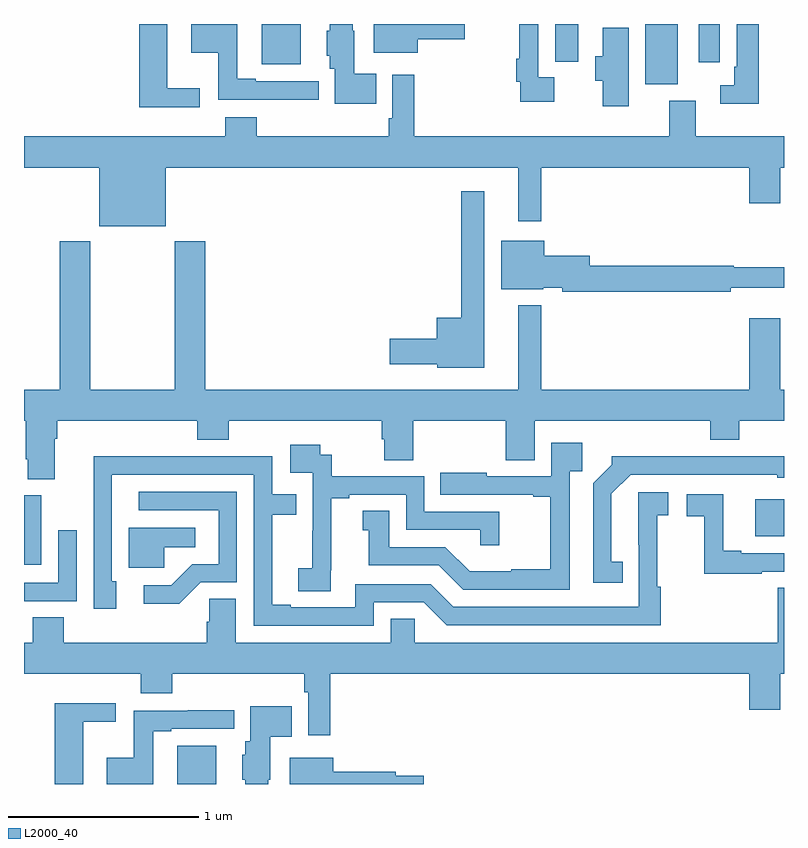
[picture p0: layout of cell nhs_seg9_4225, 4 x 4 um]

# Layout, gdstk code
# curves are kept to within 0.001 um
import gdstk
lib = gdstk.Library(unit=1e-6, precision=1e-09)
def R(c, l, rs):  # rectangles x0, y0, x1, y1
    for r in rs: c.add(gdstk.rectangle(r[:2], r[2:], *l))
def P(c, l, *ps):  # polygons
    for p in ps: c.add(gdstk.Polygon(p, *l))
L2000_40 = (2000, 40)

nhs_seg9_4225 = lib.new_cell('nhs_seg9_4225')
R(nhs_seg9_4225, L2000_40, [(353.807,1202.5,354.013,1202.701), (353,1203.653,353.092,1204.02), (356.849,1203.803,357,1204), (356.27,1206.182,356.44,1206.5), (354.251,1206.287,354.457,1206.5), (356.55,1206.3,356.662,1206.5), (355.796,1206.301,355.918,1206.5)])
P(nhs_seg9_4225, L2000_40, [(356.867,1206.5),(356.751,1206.5),(356.751,1206.274),(356.739,1206.274),(356.739,1206.177),(356.664,1206.177),(356.664,1206.08),(356.867,1206.08)],
  [(355.79,1206.22),(355.707,1206.22),(355.707,1206.5),(355.606,1206.5),(355.606,1206.316),(355.591,1206.316),(355.591,1206.196),(355.611,1206.196),(355.611,1206.092),(355.79,1206.092)],
  [(354.55,1206.198),(354.22,1206.198),(354.22,1206.211),(354.123,1206.211),(354.123,1206.5),(354.022,1206.5),(354.022,1206.498),(353.88,1206.498),(353.88,1206.35),(354.022,1206.35),(354.022,1206.102),(354.307,1206.102),(354.307,1206.101),(354.55,1206.101)],
  [(354.854,1206.238),(354.739,1206.238),(354.739,1206.465),(354.73,1206.465),(354.73,1206.5),(354.608,1206.5),(354.608,1206.465),(354.593,1206.465),(354.593,1206.333),(354.608,1206.333),(354.608,1206.264),(354.635,1206.264),(354.635,1206.08),(354.854,1206.08)],
  [(353.926,1206.161),(353.755,1206.161),(353.755,1206.5),(353.606,1206.5),(353.606,1206.062),(353.926,1206.062)],
  [(355.072,1206.419),(355.321,1206.419),(355.321,1206.5),(354.842,1206.5),(354.842,1206.35),(355.072,1206.35)],
  [(356.182,1206.481),(356.045,1206.481),(356.045,1206.331),(356.006,1206.331),(356.006,1206.202),(356.045,1206.202),(356.045,1206.066),(356.182,1206.066)],
  [(353.746,1205.744),(355.601,1205.744),(355.601,1205.463),(355.723,1205.463),(355.723,1205.744),(356.816,1205.744),(356.816,1205.556),(356.98,1205.556),(356.98,1205.744),(357,1205.744),(357,1205.908),(356.536,1205.908),(356.536,1206.097),(356.396,1206.097),(356.396,1205.908),(355.055,1205.908),(355.055,1206.232),(354.939,1206.232),(354.939,1206.004),(354.919,1206.004),(354.919,1205.908),(354.224,1205.908),(354.224,1206.01),(354.059,1206.01),(354.059,1205.908),(353,1205.908),(353,1205.744),(353.396,1205.744),(353.396,1205.435),(353.746,1205.435)],
  [(355.423,1205.62),(355.302,1205.62),(355.302,1204.954),(355.172,1204.954),(355.172,1204.844),(354.924,1204.844),(354.924,1204.709),(355.176,1204.709),(355.176,1204.691),(355.423,1204.691)],
  [(356.72,1205.111),(357,1205.111),(357,1205.221),(356.736,1205.221),(356.736,1205.228),(355.978,1205.228),(355.978,1205.281),(355.738,1205.281),(355.738,1205.359),(355.511,1205.359),(355.511,1205.105),(355.734,1205.105),(355.734,1205.111),(355.834,1205.111),(355.834,1205.092),(356.72,1205.092)],
  [(353.161,1204.316),(353.174,1204.316),(353.174,1204.412),(353.912,1204.412),(353.912,1204.313),(354.077,1204.313),(354.077,1204.412),(354.884,1204.412),(354.884,1204.314),(354.896,1204.314),(354.896,1204.204),(355.049,1204.204),(355.049,1204.412),(355.535,1204.412),(355.535,1204.204),(355.687,1204.204),(355.687,1204.412),(356.612,1204.412),(356.612,1204.313),(356.764,1204.313),(356.764,1204.412),(357,1204.412),(357,1204.576),(356.98,1204.576),(356.98,1204.951),(356.816,1204.951),(356.816,1204.576),(355.723,1204.576),(355.723,1205.02),(355.601,1205.02),(355.601,1204.576),(353.954,1204.576),(353.954,1205.356),(353.794,1205.356),(353.794,1204.576),(353.349,1204.576),(353.349,1205.356),(353.189,1205.356),(353.189,1204.576),(353,1204.576),(353,1204.412),(353.009,1204.412),(353.009,1204.21),(353.021,1204.21),(353.021,1204.105),(353.161,1204.105)],
  [(355.872,1204.145),(355.937,1204.145),(355.937,1204.297),(355.776,1204.297),(355.776,1204.119),(355.435,1204.119),(355.435,1204.138),(355.192,1204.138),(355.192,1204.023),(355.679,1204.023),(355.679,1204.011),(355.771,1204.011),(355.771,1203.631),(355.565,1203.631),(355.565,1203.619),(355.346,1203.619),(355.218,1203.747),(354.922,1203.747),(354.922,1203.938),(354.782,1203.938),(354.782,1203.835),(354.815,1203.835),(354.815,1203.651),(355.182,1203.651),(355.311,1203.522),(355.872,1203.522)],
  [(354.614,1203.625),(354.616,1203.625),(354.616,1204.003),(354.712,1204.003),(354.712,1204.023),(355.011,1204.023),(355.011,1203.837),(355.401,1203.837),(355.401,1203.756),(355.502,1203.756),(355.502,1203.933),(355.107,1203.933),(355.107,1204.119),(354.62,1204.119),(354.62,1204.233),(354.558,1204.233),(354.558,1204.285),(354.402,1204.285),(354.402,1204.137),(354.519,1204.137),(354.519,1203.833),(354.518,1203.833),(354.518,1203.636),(354.444,1203.636),(354.444,1203.514),(354.614,1203.514)],
  [(356.15,1203.671),(356.092,1203.671),(356.092,1204.027),(356.193,1204.128),(356.964,1204.128),(356.964,1204.112),(357,1204.112),(357,1204.224),(356.528,1204.224),(356.528,1204.226),(356.094,1204.226),(356.094,1204.181),(355.995,1204.082),(355.995,1203.558),(356.15,1203.558)],
  [(354.84,1203.456),(355.104,1203.456),(355.224,1203.336),(356.351,1203.336),(356.351,1203.539),(356.334,1203.539),(356.334,1203.915),(356.392,1203.915),(356.392,1204.036),(356.234,1204.036),(356.235,1203.432),(355.26,1203.432),(355.14,1203.552),(354.744,1203.552),(354.744,1203.429),(354.403,1203.429),(354.403,1203.444),(354.307,1203.444),(354.307,1203.918),(354.434,1203.918),(354.434,1204.026),(354.306,1204.026),(354.306,1204.224),(353.828,1204.224),(353.828,1204.226),(353.366,1204.226),(353.367,1203.423),(353.485,1203.423),(353.485,1203.567),(353.463,1203.567),(353.463,1204.128),(354.21,1204.128),(354.21,1203.333),(354.84,1203.333)],
  [(353.931,1203.561),(354.12,1203.561),(354.12,1204.038),(353.604,1204.038),(353.604,1203.942),(354.024,1203.942),(354.024,1203.657),(353.886,1203.657),(353.775,1203.546),(353.631,1203.546),(353.631,1203.449),(353.818,1203.449)],
  [(356.882,1203.618),(357,1203.618),(357,1203.714),(356.776,1203.714),(356.776,1203.727),(356.68,1203.727),(356.68,1204.026),(356.487,1204.026),(356.487,1203.91),(356.581,1203.91),(356.581,1203.606),(356.882,1203.606)],
  [(353.739,1203.746),(353.902,1203.746),(353.902,1203.85),(353.552,1203.85),(353.552,1203.639),(353.739,1203.639)],
  [(353.277,1203.835),(353.181,1203.835),(353.181,1203.558),(353,1203.558),(353,1203.462),(353.277,1203.462)],
  [(356.816,1202.892),(356.98,1202.892),(356.98,1203.08),(357,1203.08),(357,1203.533),(356.966,1203.533),(356.966,1203.244),(355.056,1203.244),(355.056,1203.371),(354.929,1203.371),(354.929,1203.244),(354.115,1203.244),(354.115,1203.476),(353.976,1203.476),(353.976,1203.353),(353.963,1203.353),(353.963,1203.244),(353.21,1203.244),(353.21,1203.377),(353.045,1203.377),(353.045,1203.244),(353,1203.244),(353,1203.08),(353.615,1203.08),(353.615,1202.978),(353.78,1202.978),(353.78,1203.08),(354.475,1203.08),(354.475,1202.984),(354.495,1202.984),(354.495,1202.757),(354.611,1202.757),(354.611,1203.08),(356.816,1203.08)],
  [(353.311,1202.828),(353.482,1202.828),(353.482,1202.926),(353.162,1202.926),(353.162,1202.5),(353.311,1202.5)],
  [(354.286,1202.523),(354.295,1202.523),(354.295,1202.75),(354.41,1202.75),(354.41,1202.908),(354.191,1202.908),(354.191,1202.724),(354.164,1202.724),(354.164,1202.655),(354.149,1202.655),(354.149,1202.523),(354.164,1202.523),(354.164,1202.5),(354.286,1202.5)],
  [(353.679,1202.778),(353.776,1202.778),(353.776,1202.79),(354.106,1202.79),(354.106,1202.888),(353.863,1202.888),(353.863,1202.886),(353.578,1202.886),(353.578,1202.638),(353.436,1202.638),(353.436,1202.5),(353.679,1202.5)],
  [(355.103,1202.544),(354.956,1202.544),(354.956,1202.564),(354.628,1202.564),(354.628,1202.638),(354.398,1202.638),(354.398,1202.5),(355.103,1202.5)])

lib.write_gds('nhs_seg9_4225.gds')
